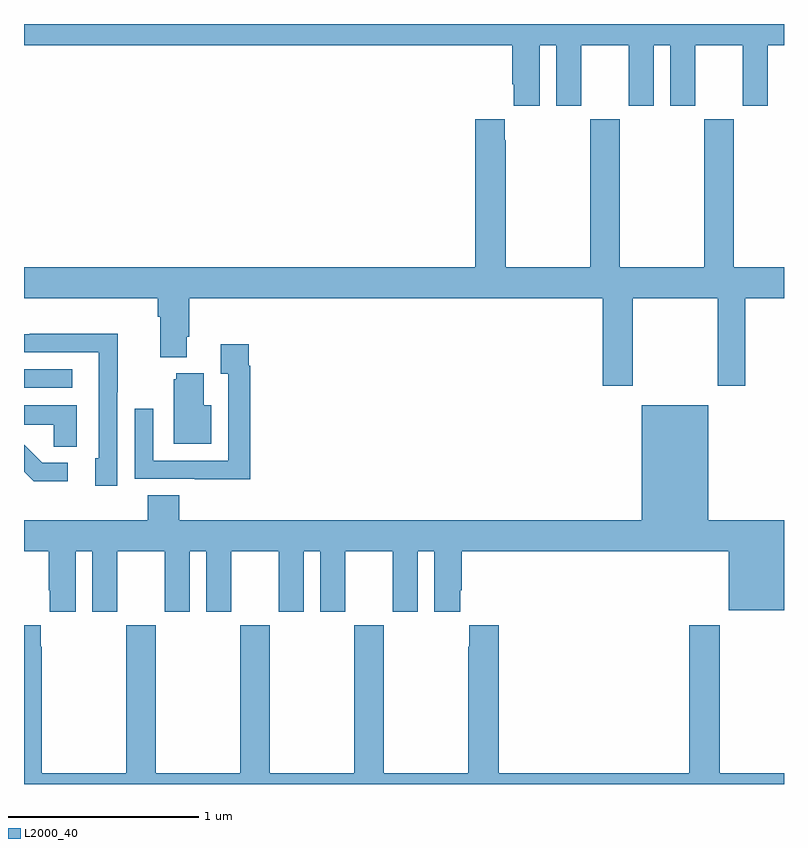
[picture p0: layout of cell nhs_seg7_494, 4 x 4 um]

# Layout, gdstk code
import gdstk
lib = gdstk.Library(unit=1e-6, precision=1e-09)
def R(c, l, rs):  # rectangles x0, y0, x1, y1
    for r in rs: c.add(gdstk.rectangle(r[:2], r[2:], *l))
def P(c, l, *ps):  # polygons
    for p in ps: c.add(gdstk.Polygon(p, *l))
L2000_40 = (2000, 40)

nhs_seg7_494 = lib.new_cell('nhs_seg7_494')
R(nhs_seg7_494, L2000_40, [(149,1060.086,149.254,1060.182)])
P(nhs_seg7_494, L2000_40, [(151.714,1061.888),(151.802,1061.888),(151.802,1061.571),(151.933,1061.571),(151.933,1061.888),(152.183,1061.888),(152.183,1061.571),(152.314,1061.571),(152.314,1061.888),(152.402,1061.888),(152.402,1061.571),(152.533,1061.571),(152.533,1061.888),(152.783,1061.888),(152.783,1061.571),(152.914,1061.571),(152.914,1061.888),(153,1061.888),(153,1062),(149,1062),(149,1061.888),(151.571,1061.888),(151.571,1061.683),(151.577,1061.683),(151.577,1061.571),(151.714,1061.571)],
  [(152.205,1060.556),(152.65,1060.556),(152.65,1060.095),(152.797,1060.095),(152.797,1060.556),(153,1060.556),(153,1060.72),(152.736,1060.72),(152.736,1061.5),(152.581,1061.5),(152.581,1060.72),(152.136,1060.72),(152.136,1061.5),(151.981,1061.5),(151.981,1060.72),(151.536,1060.72),(151.536,1061.387),(151.531,1061.387),(151.531,1061.5),(151.376,1061.5),(151.376,1060.72),(149,1060.72),(149,1060.556),(149.705,1060.556),(149.705,1060.46),(149.717,1060.46),(149.717,1060.247),(149.857,1060.247),(149.857,1060.354),(149.87,1060.354),(149.87,1060.556),(152.045,1060.556),(152.045,1060.095),(152.205,1060.095)],
  [(149.49,1060.063),(149.493,1060.063),(149.493,1060.37),(149.029,1060.37),(149.029,1060.368),(149,1060.368),(149,1060.272),(149.394,1060.272),(149.394,1059.714),(149.375,1059.714),(149.375,1059.57),(149.49,1059.57)],
  [(150.191,1060.202),(150.184,1060.202),(150.184,1060.315),(150.035,1060.315),(150.035,1060.159),(150.075,1060.159),(150.075,1059.702),(149.679,1059.702),(149.679,1059.976),(149.583,1059.976),(149.583,1059.606),(149.899,1059.606),(149.899,1059.605),(150.191,1059.605)],
  [(149.986,1059.994),(149.947,1059.994),(149.947,1060.162),(149.801,1060.162),(149.801,1060.131),(149.789,1060.131),(149.789,1059.791),(149.986,1059.791)],
  [(149.272,1059.224),(149.36,1059.224),(149.36,1058.907),(149.491,1058.907),(149.491,1059.224),(149.741,1059.224),(149.741,1058.907),(149.872,1058.907),(149.872,1059.224),(149.96,1059.224),(149.96,1058.907),(150.091,1058.907),(150.091,1059.224),(150.341,1059.224),(150.341,1058.907),(150.472,1058.907),(150.472,1059.224),(150.56,1059.224),(150.56,1058.907),(150.691,1058.907),(150.691,1059.224),(150.941,1059.224),(150.941,1058.907),(151.072,1058.907),(151.072,1059.224),(151.16,1059.224),(151.16,1058.907),(151.297,1058.907),(151.297,1059.019),(151.304,1059.019),(151.304,1059.224),(152.708,1059.224),(152.708,1058.915),(153,1058.915),(153,1059.388),(152.602,1059.388),(152.602,1059.994),(152.252,1059.994),(152.252,1059.388),(149.816,1059.388),(149.816,1059.521),(149.651,1059.521),(149.651,1059.388),(149,1059.388),(149,1059.224),(149.129,1059.224),(149.129,1059.019),(149.135,1059.019),(149.135,1058.907),(149.272,1058.907)],
  [(149.278,1059.994),(149,1059.994),(149,1059.89),(149.157,1059.89),(149.157,1059.775),(149.278,1059.775)],
  [(149.23,1059.69),(149.095,1059.69),(149,1059.785),(149,1059.644),(149.051,1059.593),(149.23,1059.593)],
  [(153,1058.056),(152.661,1058.056),(152.661,1058.836),(152.501,1058.836),(152.501,1058.056),(151.499,1058.056),(151.499,1058.836),(151.343,1058.836),(151.343,1058.723),(151.339,1058.723),(151.339,1058.056),(150.894,1058.056),(150.894,1058.836),(150.739,1058.836),(150.739,1058.056),(150.294,1058.056),(150.294,1058.836),(150.139,1058.836),(150.139,1058.056),(149.694,1058.056),(149.694,1058.836),(149.539,1058.836),(149.539,1058.056),(149.094,1058.056),(149.094,1058.723),(149.089,1058.723),(149.089,1058.836),(149,1058.836),(149,1058),(153,1058)])

lib.write_gds('nhs_seg7_494.gds')
